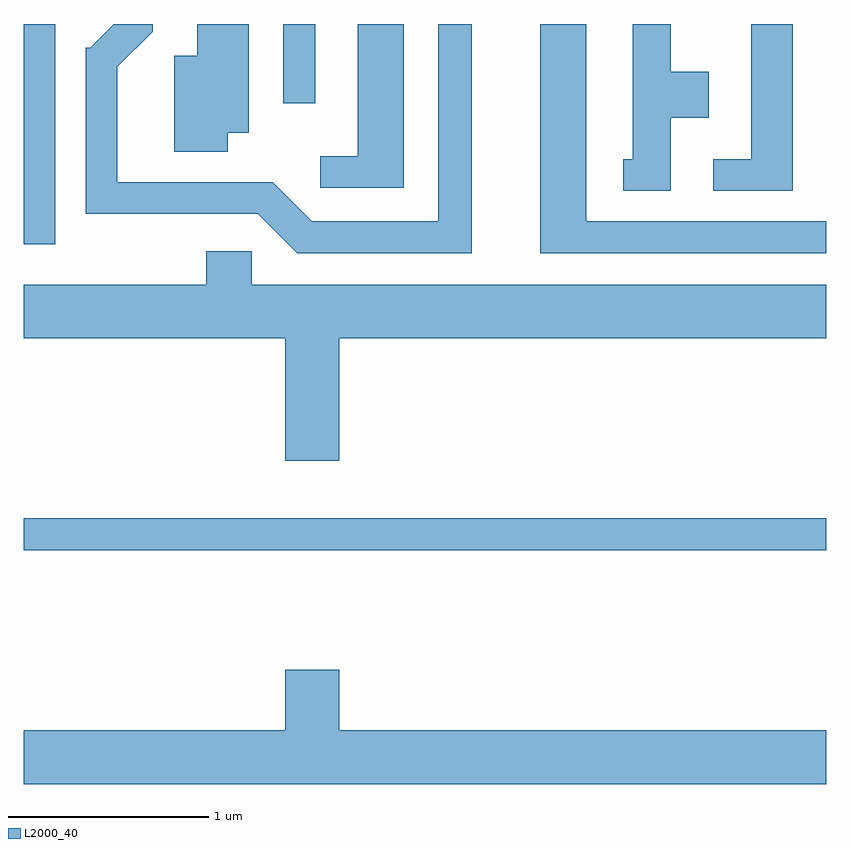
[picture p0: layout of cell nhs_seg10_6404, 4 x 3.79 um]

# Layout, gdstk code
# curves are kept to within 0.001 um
import gdstk
lib = gdstk.Library(unit=1e-6, precision=1e-09)
def R(c, l, rs):  # rectangles x0, y0, x1, y1
    for r in rs: c.add(gdstk.rectangle(r[:2], r[2:], *l))
def P(c, l, *ps):  # polygons
    for p in ps: c.add(gdstk.Polygon(p, *l))
L2000_40 = (2000, 40)

nhs_seg10_6404 = lib.new_cell('nhs_seg10_6404')
R(nhs_seg10_6404, L2000_40, [(373.611,2183.901,377.611,2184.059), (373.611,2185.426,373.769,2186.522), (374.906,2186.128,375.064,2186.522)])
P(nhs_seg10_6404, L2000_40, [(377.611,2185.539),(376.414,2185.539),(376.414,2186.522),(376.186,2186.522),(376.186,2185.381),(377.611,2185.381)],
  [(375.504,2186.522),(375.276,2186.522),(375.276,2185.864),(375.088,2185.864),(375.088,2185.706),(375.504,2185.706)],
  [(374.629,2185.981),(374.734,2185.981),(374.734,2186.522),(374.476,2186.522),(374.476,2186.364),(374.361,2186.364),(374.361,2185.886),(374.629,2185.886)],
  [(377.444,2186.522),(377.236,2186.522),(377.236,2185.849),(377.048,2185.849),(377.048,2185.691),(377.444,2185.691)],
  [(375.844,2186.522),(375.676,2186.522),(375.676,2185.539),(375.047,2185.539),(374.852,2185.734),(374.079,2185.734),(374.079,2186.309),(374.254,2186.484),(374.254,2186.522),(374.061,2186.522),(373.944,2186.404),(373.921,2186.404),(373.921,2185.576),(374.779,2185.576),(374.974,2185.381),(375.844,2185.381)],
  [(376.834,2186.056),(377.024,2186.056),(377.024,2186.284),(376.834,2186.284),(376.834,2186.522),(376.646,2186.522),(376.646,2185.849),(376.598,2185.849),(376.598,2185.691),(376.834,2185.691)],
  [(375.184,2184.956),(377.611,2184.956),(377.611,2185.224),(374.749,2185.224),(374.749,2185.389),(374.521,2185.389),(374.521,2185.224),(373.611,2185.224),(373.611,2184.956),(374.916,2184.956),(374.916,2184.346),(375.184,2184.346)],
  [(377.611,2183.004),(375.184,2183.004),(375.184,2183.304),(374.916,2183.304),(374.916,2183.004),(373.611,2183.004),(373.611,2182.736),(377.611,2182.736)])

lib.write_gds('nhs_seg10_6404.gds')
